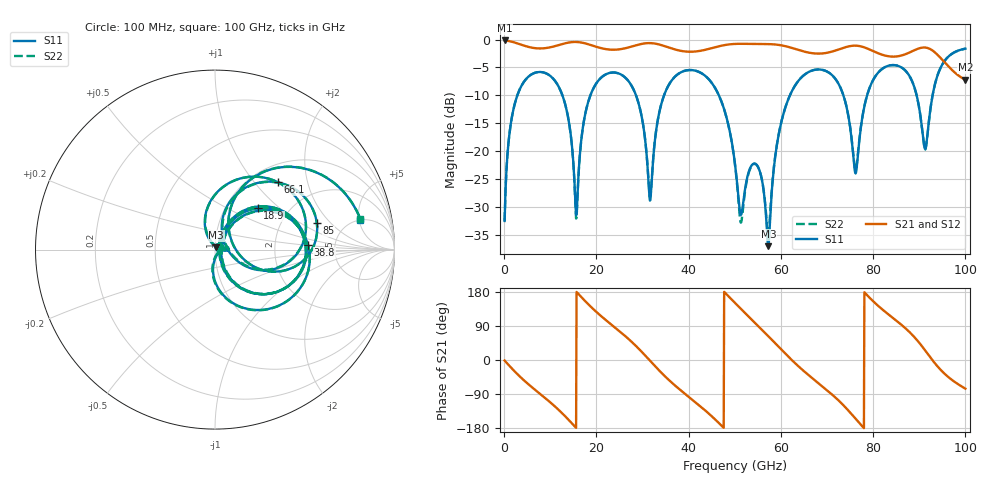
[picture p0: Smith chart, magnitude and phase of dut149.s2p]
! Touchstone file exported from HFSS 2026.1.0
!  File:  C:/ffzhzh/LocalFiles/Ansys_Project_Files/temp_train_TSV_RDL_149_1783463896_34316.aedt
!  Generated:  06:48:52 AM Jul  8, 2026
!  Design:  TSV_RDL
!  Project:  temp_train_TSV_RDL_149_1783463896_34316
! Variables:
!  h_bsmrdl = 3.47um
!  h_ox = 20um
!  h_rdl = 5um
!  h_sub = 53.94um
!  h_tmrdl = 4.12um
!  h_tsv = 53.94um
!  h_via = 3um
!  l_bsmrdl = 597.92um
!  l_sub = 4092.69um
!  l_tmrdl = 446.36um
!  m_sub = 200um
!  pitch = 41.3um
!  r_tsv = 8.13um
!  s_tmrdl = 10um
!  w_bsmrdl = 17.08um
!  w_sub = 500um
!  w_tmrdl = 20.75um
!  x_tsv_center1 = 456.735um
!  x_tsv_center2 = 1071.735um
!  x_tsv_center3 = 1538.845um
!  x_tsv_center4 = 2153.845um
!  x_tsv_center5 = 2620.955um
!  x_tsv_center6 = 3235.955um
# GHz S MA R 50.000000
! Terminal data exported
! Port[1] = TM_RDL1_1_T1
! Port[2] = TM_RDL5_1_T1
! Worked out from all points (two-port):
!   1000 points, 100 MHz to 100 GHz, reference 50 ohm
!   highest |S21| = -0.17 dB at 100 MHz (marker M1); lowest = -7.2 dB at 100 GHz (marker M2)
!   |S21| within 3 dB of the highest: start of sweep to 94.46 GHz
!   lowest |S11| = -37.1 dB at 57.3 GHz (marker M3), VSWR 1.03, Z = 50.7 + j1.25 ohm
!   |S11| at or under -10 dB: 12.63 GHz to 18.71 GHz (6.079 GHz wide, 38.8 % of centre); 28.58 GHz to 34.67 GHz (6.095 GHz wide, 19.3 % of centre); 46.55 GHz to 61.97 GHz (15.42 GHz wide, 28.4 % of centre) (the widest 3 of 6)
!   |S22| runs from -35.1 to -1.6 dB; largest |S21 - S12| = 2.4e-14
!   S11 on the Smith chart (normalised r, x): 100 MHz: 1.04, +0.03; 18.9 GHz: 1.41, +0.73; 38.8 GHz: 3.14, +0.23; 66.1 GHz: 1.31, +1.33; 85 GHz: 3.14, +1.41; 100 GHz: 4.93, +5.24
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0.1  0.0236 33.9  0.9807 -1.4  0.9807 -1.4  0.0236 33.9
! Gamma 0 0 0 0
! Port Impedance 50 0 50 0
1.8  0.2143 59.4  0.9522 -24.0  0.9522 -24.0  0.2143 59.4
5.4  0.4696 21.6  0.8557 -65.5  0.8557 -65.5  0.4696 21.5
12.4  0.3346 -47.1  0.9054 -138.4  0.9054 -138.4  0.3346 -47.3
15.6  0.02659 -11.4  0.9506 -179.1  0.9506 -179.1  0.0248 -12.2
16.8  0.1343 62.4  0.9387 165.1  0.9387 165.1  0.1339 63.2
18.9  0.3316 44.0  0.889 139.2  0.889 139.2  0.3314 44.4
26.7  0.4363 -30.7  0.8436 58.4  0.8436 58.4  0.4363 -30.4
31.6  0.03591 -9.9  0.9284 -1.5  0.9284 -1.5  0.03858 -9.2
33.4  0.1985 54.0  0.9066 -25.0  0.9066 -25.0  0.1991 53.3
38.8  0.5186 3.0  0.7852 -85.2  0.7852 -85.2  0.5187 2.8
50.1  0.07361 -95.2  0.9132 150.1  0.9132 150.1  0.0723 -98.0
57.3  0.01402 61.2  0.9095 62.4  0.9095 62.4  0.01765 62.3
60.3  0.1969 105.9  0.8836 24.9  0.8836 24.9  0.1976 105.2
66.1  0.5135 46.8  0.762 -40.9  0.762 -40.9  0.5136 46.9
66.7  0.5261 41.3  0.7548 -46.9  0.7548 -46.9  0.5261 41.4
72.8  0.3783 -14.6  0.8216 -110.2  0.8216 -110.2  0.3785 -14.1
76.2  0.0629 24.6  0.8809 -155.0  0.8809 -155.0  0.06718 24.9
83.4  0.5832 27.9  0.7067 119.5  0.7067 119.5  0.5833 27.8
85  0.5861 14.6  0.7044 104.1  0.7044 104.1  0.5861 14.4
92.1  0.1872 65.9  0.831 11.8  0.831 11.8  0.1869 66.3
100  0.8276 11.7  0.4351 -75.6  0.4351 -75.6  0.8277 11.8
